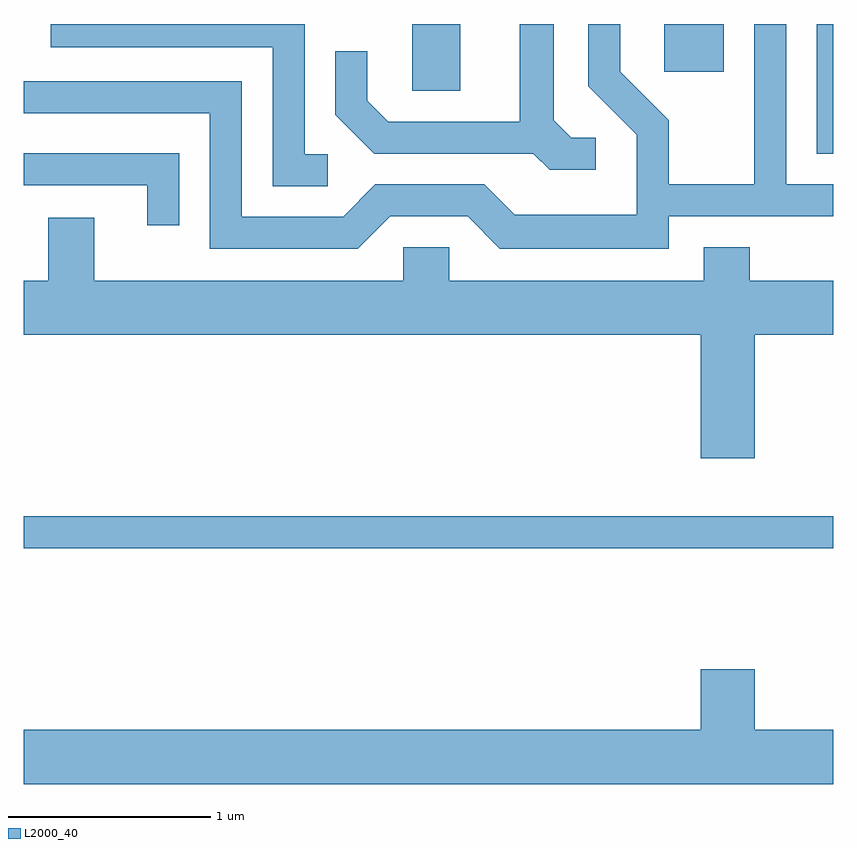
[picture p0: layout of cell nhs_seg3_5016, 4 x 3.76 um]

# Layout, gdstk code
import gdstk
lib = gdstk.Library(unit=1e-6, precision=1e-09)
def R(c, l, rs):  # rectangles x0, y0, x1, y1
    for r in rs: c.add(gdstk.rectangle(r[:2], r[2:], *l))
def P(c, l, *ps):  # polygons
    for p in ps: c.add(gdstk.Polygon(p, *l))
L2000_40 = (2000, 40)

nhs_seg3_5016 = lib.new_cell('nhs_seg3_5016')
R(nhs_seg3_5016, L2000_40, [(331.611,1229.301,335.611,1229.459), (335.531,1231.251,335.611,1231.892), (333.531,1231.561,333.769,1231.892), (334.776,1231.656,335.069,1231.892)])
P(nhs_seg3_5016, L2000_40, [(333.113,1231.249),(332.999,1231.249),(332.999,1231.892),(331.743,1231.892),(331.743,1231.776),(332.841,1231.776),(332.841,1231.091),(333.113,1231.091)],
  [(334.438,1231.329),(334.317,1231.329),(334.229,1231.417),(334.229,1231.892),(334.061,1231.892),(334.061,1231.409),(333.412,1231.409),(333.309,1231.512),(333.309,1231.758),(333.151,1231.758),(333.151,1231.444),(333.344,1231.251),(334.129,1231.251),(334.209,1231.171),(334.438,1231.171)],
  [(333.422,1230.941),(333.804,1230.941),(333.964,1230.781),(334.799,1230.781),(334.799,1230.941),(335.611,1230.941),(335.611,1231.099),(335.379,1231.099),(335.379,1231.892),(335.221,1231.892),(335.221,1231.099),(334.799,1231.099),(334.799,1231.417),(334.559,1231.657),(334.559,1231.892),(334.401,1231.892),(334.401,1231.584),(334.641,1231.344),(334.641,1230.949),(334.037,1230.949),(333.887,1231.099),(333.349,1231.099),(333.189,1230.939),(332.689,1230.939),(332.689,1231.609),(331.611,1231.609),(331.611,1231.451),(332.531,1231.451),(332.531,1230.781),(333.262,1230.781)],
  [(332.379,1231.254),(331.611,1231.254),(331.611,1231.096),(332.221,1231.096),(332.221,1230.898),(332.379,1230.898)],
  [(335.224,1230.356),(335.611,1230.356),(335.611,1230.624),(335.199,1230.624),(335.199,1230.789),(334.971,1230.789),(334.971,1230.624),(333.714,1230.624),(333.714,1230.789),(333.486,1230.789),(333.486,1230.624),(331.959,1230.624),(331.959,1230.934),(331.731,1230.934),(331.731,1230.624),(331.611,1230.624),(331.611,1230.356),(334.956,1230.356),(334.956,1229.746),(335.224,1229.746)],
  [(335.611,1228.404),(335.224,1228.404),(335.224,1228.704),(334.956,1228.704),(334.956,1228.404),(331.611,1228.404),(331.611,1228.136),(335.611,1228.136)])

lib.write_gds('nhs_seg3_5016.gds')
